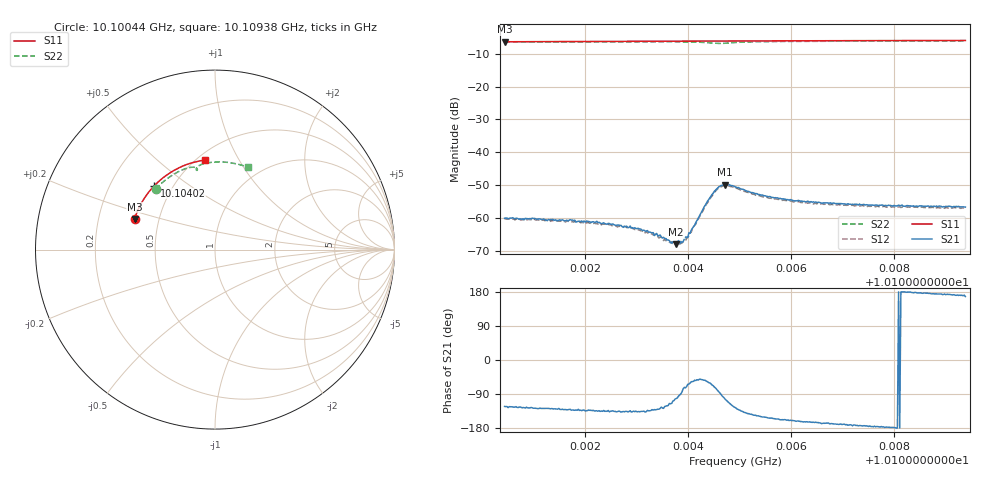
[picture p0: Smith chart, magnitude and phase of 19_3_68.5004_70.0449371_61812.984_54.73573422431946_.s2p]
#  HZ  S  RI  R  50.00
! Rohde & Schwarz Vector Network Analyzer
! Rohde-Schwarz,ZNB20-2Port,1311601062101988,3.16
! Created: UTC 3/20/2024, 5:04:36 PM
! freq[Hz]  re:S11  im:S11  re:S21  im:S21  re:S12  im:S12  re:S22  im:S22
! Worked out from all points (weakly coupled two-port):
!   401 points, 10.10044 GHz to 10.10938 GHz, reference 50 ohm
!   highest |S21| = -49.84 dB at 10.10471 GHz (marker M1); lowest = -68.0 dB at 10.10377 GHz (marker M2)
!   lowest |S11| = -6.4 dB at 10.10044 GHz (marker M3), VSWR 2.84, Z = 18.1 + j8.05 ohm
!   |S11| at or under -10 dB: nowhere
!   |S22| runs from -6.9 to -6.1 dB; largest |S21 - S12| = 0.00035
!   S11 on the Smith chart (normalised r, x): 10.10044 GHz: 0.36, +0.16; 10.10402 GHz: 0.40, +0.37; 10.10938 GHz: 0.55, +0.74
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1.010044e10  -0.4483 0.1712  -0.000533 -0.000834  -0.00047 -0.000864  -0.3314 0.3365
1.0101937e10  -0.4124 0.2549  -0.000621 -0.000651  -0.000534 -0.000668  -0.2587 0.4006
1.0102228e10  -0.4035 0.2703  -0.000619 -0.000643  -0.000527 -0.000632  -0.2431 0.4112
1.0102764e10  -0.3858 0.2976  -0.000541 -0.000513  -0.0005 -0.000552  -0.2127 0.4293
1.0103055e10  -0.3755 0.312  -0.000496 -0.000469  -0.000423 -0.0005  -0.1955 0.4382
1.0103435e10  -0.3612 0.33  -0.000347 -0.000417  -0.000269 -0.000417  -0.1715 0.4483
1.0103636e10  -0.3535 0.3393  -0.00019 -0.000412  -0.000142 -0.000404  -0.158 0.453
1.0103726e10  -0.3498 0.3435  -0.000126 -0.000411  -9.38e-05 -0.000402  -0.1518 0.4549
1.010377e10  -0.3479 0.3454  -8e-05 -0.000389  -5.1e-05 -0.000369  -0.1488 0.4558
1.0103882e10  -0.3433 0.3504  4.04e-05 -0.000424  0.00011 -0.000402  -0.1408 0.4576
1.0103971e10  -0.3396 0.3543  0.000173 -0.000481  0.000224 -0.000435  -0.1338 0.4585
1.0104016e10  -0.3377 0.3563  0.000267 -0.000531  0.000251 -0.000468  -0.1303 0.459
1.0104329e10  -0.3241 0.3697  0.000917 -0.00125  0.000971 -0.00112  -0.1057 0.4553
1.0104463e10  -0.3182 0.3752  0.000932 -0.00207  0.00107 -0.00187  -0.0986 0.4483
1.0104575e10  -0.3132 0.3796  0.000465 -0.00282  0.000689 -0.0027  -0.0988 0.4424
1.0104709e10  -0.3073 0.385  -0.000661 -0.00315  -0.00037 -0.00307  -0.1039 0.4432
1.010491e10  -0.2982 0.3929  -0.00171 -0.00245  -0.00148 -0.0025  -0.1021 0.4562
1.0105268e10  -0.2812 0.4065  -0.00198 -0.00136  -0.00178 -0.00146  -0.0799 0.4728
1.0105581e10  -0.2659 0.4176  -0.0019 -0.000954  -0.00168 -0.00107  -0.0581 0.4799
1.0106408e10  -0.2233 0.4439  -0.00168 -0.000463  -0.00156 -0.000595  -0.00259 0.4878
1.0107906e10  -0.1402 0.48  -0.00155 -6.46e-05  -0.00145 -0.000215  0.0944 0.4828
1.0109381e10  -0.0534 0.4997  -0.00143 0.000322  -0.00142 8.53e-05  0.1854 0.4588
